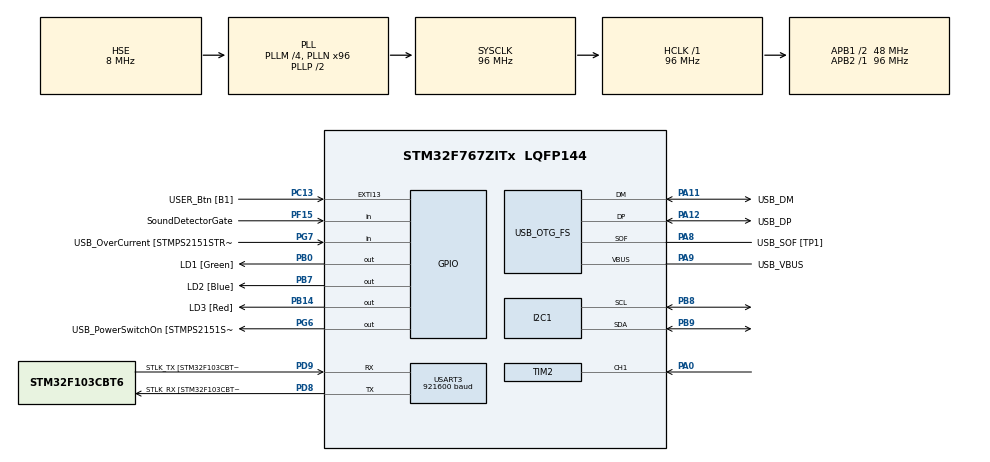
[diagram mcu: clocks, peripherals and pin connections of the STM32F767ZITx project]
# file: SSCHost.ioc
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I2C1.Timing=0x20303E5D
Mcu.Family=STM32F7
Mcu.Name=STM32F767ZITx
Mcu.Package=LQFP144
NVIC.PriorityGroup=NVIC_PRIORITYGROUP_4
PA0/WKUP.Signal=S_TIM2_CH1_ETR
PA1.GPIO_Label=RMII_REF_CLK [LAN8742A-CZ-TR_REFCLK0]
PA1.Signal=ETH_REF_CLK
PA10.GPIO_Label=USB_ID
PA10.Signal=USB_OTG_FS_ID
PA11.GPIO_Label=USB_DM
PA11.Mode=Device_Only
PA11.Signal=USB_OTG_FS_DM
PA12.GPIO_Label=USB_DP
PA12.Mode=Device_Only
PA12.Signal=USB_OTG_FS_DP
PA13.GPIO_Label=TMS
PA13.Mode=Serial_Wire
PA13.Signal=SYS_JTMS-SWDIO
PA14.GPIO_Label=TCK
PA14.Mode=Serial_Wire
PA14.Signal=SYS_JTCK-SWCLK
PA2.GPIO_Label=RMII_MDIO [LAN8742A-CZ-TR_MDIO]
PA2.Signal=ETH_MDIO
PA7.GPIO_Label=RMII_CRS_DV [LAN8742A-CZ-TR_CRS_DV]
PA7.Signal=ETH_CRS_DV
PA8.GPIO_Label=USB_SOF [TP1]
PA8.Mode=Activate_SOF_FS
PA8.Signal=USB_OTG_FS_SOF
PA9.GPIO_Label=USB_VBUS
PA9.Mode=Activate_VBUS
PA9.Signal=USB_OTG_FS_VBUS
PB0.GPIO_Label=LD1 [Green]
PB0.Signal=GPIO_Output
PB13.GPIO_Label=RMII_TXD1 [LAN8742A-CZ-TR_TXD1]
PB13.Signal=ETH_TXD1
PB14.GPIO_Label=LD3 [Red]
PB14.PinState=GPIO_PIN_RESET
PB14.Signal=GPIO_Output
PB3.GPIO_Label=SWO
PB3.Signal=SYS_JTDO-SWO
PB7.GPIO_Label=LD2 [Blue]
PB7.Signal=GPIO_Output
PB8.Mode=I2C
PB8.Signal=I2C1_SCL
PB9.Mode=I2C
PB9.Signal=I2C1_SDA
PC1.GPIO_Label=RMII_MDC [LAN8742A-CZ-TR_MDC]
PC1.Signal=ETH_MDC
PC13.GPIO_Label=USER_Btn [B1]
PC13.Signal=GPXTI13
PC14/OSC32_IN.Mode=LSE-External-Oscillator
PC14/OSC32_IN.Signal=RCC_OSC32_IN
PC15/OSC32_OUT.Mode=LSE-External-Oscillator
PC15/OSC32_OUT.Signal=RCC_OSC32_OUT
PC4.GPIO_Label=RMII_RXD0 [LAN8742A-CZ-TR_RXD0]
PC4.Signal=ETH_RXD0
PC5.GPIO_Label=RMII_RXD1 [LAN8742A-CZ-TR_RXD1]
PC5.Signal=ETH_RXD1
PD8.GPIO_Label=STLK_RX [STM32F103CBT6_PA3]
PD8.Mode=Asynchronous
PD8.Signal=USART3_TX
PD9.GPIO_Label=STLK_TX [STM32F103CBT6_PA2]
PD9.Mode=Asynchronous
PD9.Signal=USART3_RX
PF15.GPIO_Label=SoundDetectorGate
PF15.Signal=GPIO_Input
PG11.GPIO_Label=RMII_TX_EN [LAN8742A-CZ-TR_TXEN]
PG11.Signal=ETH_TX_EN
PG13.GPIO_Label=RMII_TXD0 [LAN8742A-CZ-TR_TXD0]
PG13.Signal=ETH_TXD0
PG6.GPIO_Label=USB_PowerSwitchOn [STMPS2151STR_EN]
PG6.Signal=GPIO_Output
PG7.GPIO_Label=USB_OverCurrent [STMPS2151STR_FAULT]
PG7.Signal=GPIO_Input
PH0/OSC_IN.GPIO_Label=MCO [STM32F103CBT6_PA8]
PH0/OSC_IN.Mode=HSE-External-Clock-Source
PH0/OSC_IN.Signal=RCC_OSC_IN
PH1/OSC_OUT.Mode=HSE-External-Clock-Source
PH1/OSC_OUT.Signal=RCC_OSC_OUT
ProjectManager.HeapSize=0x200
ProjectManager.StackSize=0x400
ProjectManager.TargetToolchain=STM32CubeIDE
RCC.48MHZClocksFreq_Value=24000000
RCC.AHBFreq_Value=96000000
RCC.APB1CLKDivider=RCC_HCLK_DIV2
RCC.APB1Freq_Value=48000000
RCC.APB1TimFreq_Value=96000000
RCC.APB2Freq_Value=96000000
RCC.APB2TimFreq_Value=96000000
RCC.CortexFreq_Value=96000000
RCC.HCLKFreq_Value=96000000
RCC.HSE_VALUE=8000000
RCC.HSI_VALUE=16000000
RCC.PLLM=4
RCC.PLLMUL=RCC_PLL_MUL9
RCC.PLLN=96
RCC.PLLQ=4
RCC.PRESCALERUSB=RCC_USBCLKSOURCE_PLL_DIV1_5
RCC.SYSCLKFreq_VALUE=96000000
RCC.SYSCLKSource=RCC_SYSCLKSOURCE_PLLCLK
RCC.SYSCLKSourceVirtual=RCC_SYSCLKSOURCE_PLLCLK
RCC.USBFreq_Value=48000000
RCC.VCOOutputFreq_Value=192000000
SH.S_TIM2_CH1_ETR.0=TIM2_CH1,Input_Capture1_from_TI1
TIM2.Channel-Input_Capture1_from_TI1=TIM_CHANNEL_1
TIM2.Prescaler=95
USART3.BaudRate=921600
USART3.VirtualMode-Asynchronous=VM_ASYNC
USB_OTG_FS.VirtualMode=Device_Only
VP_TIM2_VS_ClockSourceINT.Mode=Internal
board=NUCLEO-F767ZI

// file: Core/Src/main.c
/* USER CODE BEGIN Header */
/**
  ******************************************************************************
  * @file           : main.c
  * @brief          : Main program body
  ******************************************************************************
  * @attention
  *
  * <h2><center>&copy; Copyright (c) 2021 STMicroelectronics.
  * All rights reserved.</center></h2>
  *
  * This software component is licensed by ST under BSD 3-Clause license,
  * the "License"; You may not use this file except in compliance with the
  * License. You may obtain a copy of the License at:
  *                        opensource.org/licenses/BSD-3-Clause
  *
  ******************************************************************************
  */
/* USER CODE END Header */
#include "main.h"

/* USER CODE BEGIN Includes */
#include <string.h>
#include <stdio.h>
#include <stdlib.h>

#include "I2CNetworkCommon.h"
#include "HostDispatchCommands.h"
#include "TimeHelpers.h"

/* USER CODE END Includes */

/* USER CODE BEGIN PTD */

#define PERIPHERAL_COUNT 4 //How many boards we've got working as peripherals.
#define CYCLE_COUNT 4 //How many times we fill the buffer before stopping.

#define PRIME_BLINK_COUNT 3
#define PRIME_BLINK_TOTAL_TIME_MS 500

#define SAMPLE_TO_READ_TIME_MS 1000 //How long after we send the signal to sample do we start checking if the peripherals are ready to send.

#define NOT_READY_ADDITIONAL_DELAY_MS 50 //When we ask if a peripheral is done sampling, and it say no, how long we wait before asking again.

#define FIRST_DEVICE_DELAY_MS 35 //What the delay, in milliseconds, will be on the first device after sending the "Start Sampling" command.
#define DELAY_ADD_PER_DEVICE_MS 0 //How much time, in milliseconds, is added to the delay of each device after the first (cumulative).

/* USER CODE END PTD */

I2C_HandleTypeDef hi2c1;

TIM_HandleTypeDef htim2;

UART_HandleTypeDef huart3;

PCD_HandleTypeDef hpcd_USB_OTG_FS;

/* USER CODE BEGIN PV */
int isPrimed = 0;
int isStarted = 0;
int isFinished = 0;
/* USER CODE END PV */

void SystemClock_Config(void);
static void MX_GPIO_Init(void);
static void MX_USART3_UART_Init(void);
static void MX_USB_OTG_FS_PCD_Init(void);
static void MX_I2C1_Init(void);
static void MX_TIM2_Init(void);
/* USER CODE BEGIN PFP */

//void SendSampleParameters(I2C_HandleTypeDef *hi2c, uint8_t peripheralAddress, uint8_t deviceCount, uint16_t bufferSize, uint8_t cycleCount, uint8_t delayMS);

void PrintUARTMessage(UART_HandleTypeDef *huart, const char message[]);

void BlinkLight(GPIO_TypeDef* GPIOx, uint16_t GPIO_Pin, int blinkCount, int totalTimeMS, GPIO_PinState endState);

/* USER CODE END PFP */

int main(void)
{
  /* USER CODE BEGIN 1 */
	//HAL_StatusTypeDef ret;
	//uint8_t buf[1];

  /* USER CODE END 1 */

  /* MCU Configuration--------------------------------------------------------*/

  /* Reset of all peripherals, Initializes the Flash interface and the Systick. */
  HAL_Init();

  /* Configure the system clock */
  SystemClock_Config();

  /* Initialize all configured peripherals */
  MX_GPIO_Init();
  MX_USART3_UART_Init();
  MX_USB_OTG_FS_PCD_Init();
  MX_I2C1_Init();
  MX_TIM2_Init();
  /* USER CODE BEGIN 2 */

  //Green to indicate this is the host.
  HAL_GPIO_WritePin(LD1_GPIO_Port, LD1_Pin, GPIO_PIN_SET);\
  //Make sure other lights are reset, so we know we're not a peripheral and we know we're not primed.
  HAL_GPIO_WritePin(LD2_GPIO_Port, LD2_Pin, GPIO_PIN_RESET);
  HAL_GPIO_WritePin(LD3_GPIO_Port, LD3_Pin, GPIO_PIN_RESET);

  GPIO_PinState userButtonState = GPIO_PIN_RESET;

  //Confirm we're on.
  PrintUARTMessage(&huart3, "Host Initialized.");

  //Enable register for the timer.
  TIM2->CR1 = TIM_CR1_CEN;

  //Declare array that holds the time in microseconds when we send the signal for each peripheral to start.
  //This is used later to calculate the offset for their final times and synchronize them.
  int32_t startTimesUs[4];

  /* USER CODE END 2 */

  /* Infinite loop */
  /* USER CODE BEGIN WHILE */
  while (1)
  {

	  if(isPrimed == 0)
	  {
		  GPIO_PinState state = HAL_GPIO_ReadPin(USER_Btn_GPIO_Port, USER_Btn_Pin);
		  if(state != userButtonState)
		  {
			  if(state == GPIO_PIN_SET)
			  {
				  //Submit a message saying we're starting.
				  PrintUARTMessage(&huart3, "\r\nPriming");

				  //Blink light to indicate priming.
				  BlinkLight(LD2_GPIO_Port, LD2_Pin, PRIME_BLINK_COUNT, PRIME_BLINK_TOTAL_TIME_MS, GPIO_PIN_SET);

				  for(int i = 1; i <= PERIPHERAL_COUNT; i++)
				  {
					  uint8_t address = i << 1; //Shifted over by one for I2C.

					  //Calculate the delay.
					  uint8_t delayTimeMS = FIRST_DEVICE_DELAY_MS + (i - 1) * DELAY_ADD_PER_DEVICE_MS; //Subtract one from i since we start at 1, not 0.

					  SendSampleParamsCommand(&hi2c1, address, CYCLE_COUNT, delayTimeMS);
				  }

				  isPrimed = 1;
			  }

			  userButtonState = state;

		  }
	  }

	  if(isPrimed == 1 && isStarted == 0)
	  {
		  GPIO_PinState state = HAL_GPIO_ReadPin(SoundDetectorGate_GPIO_Port, SoundDetectorGate_Pin);
		  if(state == GPIO_PIN_SET)
		  {
			  //Turn on red LED to indicate we're dispatching.
			  HAL_GPIO_WritePin(LD3_GPIO_Port, LD3_Pin, GPIO_PIN_SET);

			  ResetClock(htim2);

			  for(int i = 1; i <= PERIPHERAL_COUNT; i++)
			  {
				  uint8_t address = i << 1; //Shifted over by one for I2C.
				  BeginSamplingCommand(&hi2c1, address);

				  //Record the time.
				  uint32_t startTicks = ReadCurrentTicks(htim2);
				  startTimesUs[i - 1] = TicksToSubSecond(htim2, startTicks, MICROSECOND_DIVIDER);
			  }

			  //Subtract the first time from each start time element so that they are the offsets.
			  uint32_t firstTime = startTimesUs[0];
			  for(int i = 0; i < PERIPHERAL_COUNT; i++)
			  {
				  startTimesUs[i] -= firstTime;
			  }

			  isStarted = 1;
			  //Allow another sent packet and turn off blue prime indicator LED.
			  //Wait a short time to make it so the samples are likely ready (but we'll still be asking before receiving).
			  HAL_Delay(SAMPLE_TO_READ_TIME_MS);
			  HAL_GPIO_WritePin(LD2_GPIO_Port, LD2_Pin, GPIO_PIN_RESET);
			  HAL_GPIO_WritePin(LD3_GPIO_Port, LD3_Pin, GPIO_PIN_RESET);

			  //Each peripheral needs its device numbers adjusted to be above the preceeding peripherals. Same with samples.
			  //Use the below numbers to add to the values in each peripheral after the first, and then add back to it.
			  int highestDeviceNumber = 0;
			  int highestSampleNumber = 0;

			  //Calculate how many samples to get per device.
			  //Go through each peripheral and wait for it to be ready, then receive sample.
			  for(int i = 1; i <= PERIPHERAL_COUNT; i++)
			  {
				  uint8_t address = i << 1; //Shifted over by one for I2C.

				  //Wait for the device to be ready.
				  enum BooleanReturnValue isReady = False;

				  while(isReady == False)
				  {
					  isReady = CheckFinishedCommand(&hi2c1, address);
				  }

				  //Now it's just something other than "not ready" so handle other situations.
				  if(isReady == BadData || isReady == Timeout)
				  {
					  //Flash red light in a distinct pattern to show there was an error here.
					  for(int b = 0; b < 3; b++)
					  {
						  HAL_GPIO_WritePin(LD3_GPIO_Port, LD3_Pin, GPIO_PIN_SET);
						  HAL_Delay(120);
						  HAL_GPIO_WritePin(LD3_GPIO_Port, LD3_Pin, GPIO_PIN_RESET);
						  HAL_Delay(80);
					  }
					  continue; //Skip to the next peripheral.
				  }

				  //If we're here, the device said it's ready to send back the data. So get it.

				  //Wait a short amount of time for the listener to activate again. I guess.
				  HAL_Delay(5);

				  //Get total number of packets that we need to receive.
				  uint16_t totalPackets = RequestTotalPacketCountCommand(&hi2c1, address);

				  if(totalPackets == 0)
				  {
					  //Flash red once to show error here.
					  HAL_GPIO_WritePin(LD3_GPIO_Port, LD3_Pin, GPIO_PIN_SET);
					  HAL_Delay(120);
					  HAL_GPIO_WritePin(LD3_GPIO_Port, LD3_Pin, GPIO_PIN_RESET);
					  HAL_Delay(80);

					  continue; //In the future, we could log an error here or something.
				  }

				  int highestDeviceNumberBeforeThisPeripheral = highestDeviceNumber;
				  int highestSampleNumberBeforeThisPeripheral = highestSampleNumber;

				  //Get each sample header and sample individually.
				  for(int j = 0; j < totalPackets; j++) //TODO: This is only first four.
				  {
					  //Get the header.
					  samplePacketHeader* header = calloc(sizeof(samplePacketHeader), 1);
					  RequestSampleHeaderCommand(&hi2c1, address, j, header);

					  //Change the sample and device numbers according to the peripheral index.
					  int additiveDeviceNumber = highestDeviceNumberBeforeThisPeripheral + header->DeviceID;
					  header->DeviceID = additiveDeviceNumber;
					  if(additiveDeviceNumber > highestDeviceNumber)
					  {
						  highestDeviceNumber = additiveDeviceNumber;
					  }

					  int additiveSampleNumber = highestSampleNumberBeforeThisPeripheral + header->SampleID;
					  header->SampleID = additiveSampleNumber;
					  if(additiveSampleNumber > highestSampleNumber)
					  {
						  highestSampleNumber = additiveSampleNumber;
					  }

					  //Adjust the start and ennd times based on the offset at which the devive was sent the sample message.
					  uint32_t startOffset = startTimesUs[i];
					  header->startTimeUs += startOffset;
					  header->endTimeUs += startOffset;

					  uint16_t samplesPerPacket = header->SampleCount;
					  uint16_t* data = calloc(sizeof(uint16_t), samplesPerPacket);

					  HAL_Delay(5); //Let it get back to the main loop.

					  //Get the actual data.
					  RequestSampleDataCommand(&hi2c1, address, samplesPerPacket, j, data); //i for now, just to get the samples from the first cycle.

					  //Flip the lights to indicate it's sending stuff.
					  HAL_GPIO_WritePin(LD1_GPIO_Port, LD1_Pin, GPIO_PIN_SET);
					  HAL_GPIO_WritePin(LD2_GPIO_Port, LD2_Pin, GPIO_PIN_SET);

					  //Transmit the data to the PC.
					  TransmitSamplePacketToPC(&huart3, *header, data);

					  //Wait a sec to make sure light are seen, then switch them off.
					  HAL_Delay(25);
					  HAL_GPIO_WritePin(LD1_GPIO_Port, LD1_Pin, GPIO_PIN_RESET);
					  HAL_GPIO_WritePin(LD2_GPIO_Port, LD2_Pin, GPIO_PIN_RESET);

					  /*
					  //Just for debug.
					  uint16_t debugData[samplesPerPacket];
					  for(int d = 0; d < samplesPerPacket; d++)
					  {
						  debugData[d] = data[d];
					  }
					  */

					  free(header);
					  free(data);

					  HAL_Delay(5); //Let it get back to the main loop.
				  }

				  //Increment once more so the next set starts at one higher.
				  highestDeviceNumber++;
				  highestSampleNumber++;
			  }

			  //TODO: These need to go somewhere at the end.
			  isPrimed = 0;
			  isStarted = 0;
		  }
		  //Make sure green light is on, as we flashed them while uploading.
		  HAL_GPIO_WritePin(LD1_GPIO_Port, LD1_Pin, GPIO_PIN_SET);
	  }

    /* USER CODE END WHILE */

  }
}

void SystemClock_Config(void)
{
  RCC_OscInitTypeDef RCC_OscInitStruct = {0};
  RCC_ClkInitTypeDef RCC_ClkInitStruct = {0};
  RCC_PeriphCLKInitTypeDef PeriphClkInitStruct = {0};

  /** Configure LSE Drive Capability
  */
  HAL_PWR_EnableBkUpAccess();
  /** Configure the main internal regulator output voltage
  */
  __HAL_RCC_PWR_CLK_ENABLE();
  __HAL_PWR_VOLTAGESCALING_CONFIG(PWR_REGULATOR_VOLTAGE_SCALE3);
  /** Initializes the RCC Oscillators according to the specified parameters
  * in the RCC_OscInitTypeDef structure.
  */
  RCC_OscInitStruct.OscillatorType = RCC_OSCILLATORTYPE_HSE;
  RCC_OscInitStruct.HSEState = RCC_HSE_BYPASS;
  RCC_OscInitStruct.PLL.PLLState = RCC_PLL_ON;
  RCC_OscInitStruct.PLL.PLLSource = RCC_PLLSOURCE_HSE;
  RCC_OscInitStruct.PLL.PLLM = 4;
  RCC_OscInitStruct.PLL.PLLN = 96;
  RCC_OscInitStruct.PLL.PLLP = RCC_PLLP_DIV2;
  RCC_OscInitStruct.PLL.PLLQ = 4;
  if (HAL_RCC_OscConfig(&RCC_OscInitStruct) != HAL_OK)
  {
    Error_Handler();
  }
  /** Activate the Over-Drive mode
  */
  if (HAL_PWREx_EnableOverDrive() != HAL_OK)
  {
    Error_Handler();
  }
  /** Initializes the CPU, AHB and APB buses clocks
  */
  RCC_ClkInitStruct.ClockType = RCC_CLOCKTYPE_HCLK|RCC_CLOCKTYPE_SYSCLK
                              |RCC_CLOCKTYPE_PCLK1|RCC_CLOCKTYPE_PCLK2;
  RCC_ClkInitStruct.SYSCLKSource = RCC_SYSCLKSOURCE_PLLCLK;
  RCC_ClkInitStruct.AHBCLKDivider = RCC_SYSCLK_DIV1;
  RCC_ClkInitStruct.APB1CLKDivider = RCC_HCLK_DIV2;
  RCC_ClkInitStruct.APB2CLKDivider = RCC_HCLK_DIV1;

  if (HAL_RCC_ClockConfig(&RCC_ClkInitStruct, FLASH_LATENCY_3) != HAL_OK)
  {
    Error_Handler();
  }
  PeriphClkInitStruct.PeriphClockSelection = RCC_PERIPHCLK_USART3|RCC_PERIPHCLK_I2C1
                              |RCC_PERIPHCLK_CLK48;
  PeriphClkInitStruct.Usart3ClockSelection = RCC_USART3CLKSOURCE_PCLK1;
  PeriphClkInitStruct.I2c1ClockSelection = RCC_I2C1CLKSOURCE_PCLK1;
  PeriphClkInitStruct.Clk48ClockSelection = RCC_CLK48SOURCE_PLL;
  if (HAL_RCCEx_PeriphCLKConfig(&PeriphClkInitStruct) != HAL_OK)
  {
    Error_Handler();
  }
}

static void MX_I2C1_Init(void)
{

  hi2c1.Instance = I2C1;
  hi2c1.Init.Timing = 0x20303E5D;
  hi2c1.Init.OwnAddress1 = 0;
  hi2c1.Init.AddressingMode = I2C_ADDRESSINGMODE_7BIT;
  hi2c1.Init.DualAddressMode = I2C_DUALADDRESS_DISABLE;
  hi2c1.Init.OwnAddress2 = 0;
  hi2c1.Init.OwnAddress2Masks = I2C_OA2_NOMASK;
  hi2c1.Init.GeneralCallMode = I2C_GENERALCALL_DISABLE;
  hi2c1.Init.NoStretchMode = I2C_NOSTRETCH_DISABLE;
  if (HAL_I2C_Init(&hi2c1) != HAL_OK)
  {
    Error_Handler();
  }
  /** Configure Analogue filter
  */
  if (HAL_I2CEx_ConfigAnalogFilter(&hi2c1, I2C_ANALOGFILTER_ENABLE) != HAL_OK)
  {
    Error_Handler();
  }
  /** Configure Digital filter
  */
  if (HAL_I2CEx_ConfigDigitalFilter(&hi2c1, 0) != HAL_OK)
  {
    Error_Handler();
  }

}

static void MX_TIM2_Init(void)
{

  TIM_ClockConfigTypeDef sClockSourceConfig = {0};
  TIM_MasterConfigTypeDef sMasterConfig = {0};
  TIM_IC_InitTypeDef sConfigIC = {0};

  htim2.Instance = TIM2;
  htim2.Init.Prescaler = 95;
  htim2.Init.CounterMode = TIM_COUNTERMODE_UP;
  htim2.Init.Period = 4294967295;
  htim2.Init.ClockDivision = TIM_CLOCKDIVISION_DIV1;
  htim2.Init.AutoReloadPreload = TIM_AUTORELOAD_PRELOAD_DISABLE;
  if (HAL_TIM_Base_Init(&htim2) != HAL_OK)
  {
    Error_Handler();
  }
  sClockSourceConfig.ClockSource = TIM_CLOCKSOURCE_INTERNAL;
  if (HAL_TIM_ConfigClockSource(&htim2, &sClockSourceConfig) != HAL_OK)
  {
    Error_Handler();
  }
  if (HAL_TIM_IC_Init(&htim2) != HAL_OK)
  {
    Error_Handler();
  }
  sMasterConfig.MasterOutputTrigger = TIM_TRGO_RESET;
  sMasterConfig.MasterSlaveMode = TIM_MASTERSLAVEMODE_DISABLE;
  if (HAL_TIMEx_MasterConfigSynchronization(&htim2, &sMasterConfig) != HAL_OK)
  {
    Error_Handler();
  }
  sConfigIC.ICPolarity = TIM_INPUTCHANNELPOLARITY_RISING;
  sConfigIC.ICSelection = TIM_ICSELECTION_DIRECTTI;
  sConfigIC.ICPrescaler = TIM_ICPSC_DIV1;
  sConfigIC.ICFilter = 0;
  if (HAL_TIM_IC_ConfigChannel(&htim2, &sConfigIC, TIM_CHANNEL_1) != HAL_OK)
  {
    Error_Handler();
  }

}

static void MX_USART3_UART_Init(void)
{

  huart3.Instance = USART3;
  huart3.Init.BaudRate = 921600;
  huart3.Init.WordLength = UART_WORDLENGTH_8B;
  huart3.Init.StopBits = UART_STOPBITS_1;
  huart3.Init.Parity = UART_PARITY_NONE;
  huart3.Init.Mode = UART_MODE_TX_RX;
  huart3.Init.HwFlowCtl = UART_HWCONTROL_NONE;
  huart3.Init.OverSampling = UART_OVERSAMPLING_16;
  huart3.Init.OneBitSampling = UART_ONE_BIT_SAMPLE_DISABLE;
  huart3.AdvancedInit.AdvFeatureInit = UART_ADVFEATURE_NO_INIT;
  if (HAL_UART_Init(&huart3) != HAL_OK)
  {
    Error_Handler();
  }

}

static void MX_USB_OTG_FS_PCD_Init(void)
{

  hpcd_USB_OTG_FS.Instance = USB_OTG_FS;
  hpcd_USB_OTG_FS.Init.dev_endpoints = 6;
  hpcd_USB_OTG_FS.Init.speed = PCD_SPEED_FULL;
  hpcd_USB_OTG_FS.Init.dma_enable = DISABLE;
  hpcd_USB_OTG_FS.Init.phy_itface = PCD_PHY_EMBEDDED;
  hpcd_USB_OTG_FS.Init.Sof_enable = ENABLE;
  hpcd_USB_OTG_FS.Init.low_power_enable = DISABLE;
  hpcd_USB_OTG_FS.Init.lpm_enable = DISABLE;
  hpcd_USB_OTG_FS.Init.vbus_sensing_enable = ENABLE;
  hpcd_USB_OTG_FS.Init.use_dedicated_ep1 = DISABLE;
  if (HAL_PCD_Init(&hpcd_USB_OTG_FS) != HAL_OK)
  {
    Error_Handler();
  }

}

static void MX_GPIO_Init(void)
{
  GPIO_InitTypeDef GPIO_InitStruct = {0};

  /* GPIO Ports Clock Enable */
  __HAL_RCC_GPIOC_CLK_ENABLE();
  __HAL_RCC_GPIOH_CLK_ENABLE();
  __HAL_RCC_GPIOA_CLK_ENABLE();
  __HAL_RCC_GPIOB_CLK_ENABLE();
  __HAL_RCC_GPIOF_CLK_ENABLE();
  __HAL_RCC_GPIOD_CLK_ENABLE();
  __HAL_RCC_GPIOG_CLK_ENABLE();

  /*Configure GPIO pin Output Level */
  HAL_GPIO_WritePin(GPIOB, LD1_Pin|LD3_Pin|LD2_Pin, GPIO_PIN_RESET);

  /*Configure GPIO pin Output Level */
  HAL_GPIO_WritePin(USB_PowerSwitchOn_GPIO_Port, USB_PowerSwitchOn_Pin, GPIO_PIN_RESET);

  /*Configure GPIO pin : USER_Btn_Pin */
  GPIO_InitStruct.Pin = USER_Btn_Pin;
  GPIO_InitStruct.Mode = GPIO_MODE_IT_RISING;
  GPIO_InitStruct.Pull = GPIO_NOPULL;
  HAL_GPIO_Init(USER_Btn_GPIO_Port, &GPIO_InitStruct);

  /*Configure GPIO pins : RMII_MDC_Pin RMII_RXD0_Pin RMII_RXD1_Pin */
  GPIO_InitStruct.Pin = RMII_MDC_Pin|RMII_RXD0_Pin|RMII_RXD1_Pin;
  GPIO_InitStruct.Mode = GPIO_MODE_AF_PP;
  GPIO_InitStruct.Pull = GPIO_NOPULL;
  GPIO_InitStruct.Speed = GPIO_SPEED_FREQ_VERY_HIGH;
  GPIO_InitStruct.Alternate = GPIO_AF11_ETH;
  HAL_GPIO_Init(GPIOC, &GPIO_InitStruct);

  /*Configure GPIO pins : RMII_REF_CLK_Pin RMII_MDIO_Pin RMII_CRS_DV_Pin */
  GPIO_InitStruct.Pin = RMII_REF_CLK_Pin|RMII_MDIO_Pin|RMII_CRS_DV_Pin;
  GPIO_InitStruct.Mode = GPIO_MODE_AF_PP;
  GPIO_InitStruct.Pull = GPIO_NOPULL;
  GPIO_InitStruct.Speed = GPIO_SPEED_FREQ_VERY_HIGH;
  GPIO_InitStruct.Alternate = GPIO_AF11_ETH;
  HAL_GPIO_Init(GPIOA, &GPIO_InitStruct);

  /*Configure GPIO pins : LD1_Pin LD3_Pin LD2_Pin */
  GPIO_InitStruct.Pin = LD1_Pin|LD3_Pin|LD2_Pin;
  GPIO_InitStruct.Mode = GPIO_MODE_OUTPUT_PP;
  GPIO_InitStruct.Pull = GPIO_NOPULL;
  GPIO_InitStruct.Speed = GPIO_SPEED_FREQ_LOW;
  HAL_GPIO_Init(GPIOB, &GPIO_InitStruct);

  /*Configure GPIO pin : SoundDetectorGate_Pin */
  GPIO_InitStruct.Pin = SoundDetectorGate_Pin;
  GPIO_InitStruct.Mode = GPIO_MODE_INPUT;
  GPIO_InitStruct.Pull = GPIO_NOPULL;
  HAL_GPIO_Init(SoundDetectorGate_GPIO_Port, &GPIO_InitStruct);

  /*Configure GPIO pin : RMII_TXD1_Pin */
  GPIO_InitStruct.Pin = RMII_TXD1_Pin;
  GPIO_InitStruct.Mode = GPIO_MODE_AF_PP;
  GPIO_InitStruct.Pull = GPIO_NOPULL;
  GPIO_InitStruct.Speed = GPIO_SPEED_FREQ_VERY_HIGH;
  GPIO_InitStruct.Alternate = GPIO_AF11_ETH;
  HAL_GPIO_Init(RMII_TXD1_GPIO_Port, &GPIO_InitStruct);

  /*Configure GPIO pin : USB_PowerSwitchOn_Pin */
  GPIO_InitStruct.Pin = USB_PowerSwitchOn_Pin;
  GPIO_InitStruct.Mode = GPIO_MODE_OUTPUT_PP;
  GPIO_InitStruct.Pull = GPIO_NOPULL;
  GPIO_InitStruct.Speed = GPIO_SPEED_FREQ_LOW;
  HAL_GPIO_Init(USB_PowerSwitchOn_GPIO_Port, &GPIO_InitStruct);

  /*Configure GPIO pin : USB_OverCurrent_Pin */
  GPIO_InitStruct.Pin = USB_OverCurrent_Pin;
  GPIO_InitStruct.Mode = GPIO_MODE_INPUT;
  GPIO_InitStruct.Pull = GPIO_NOPULL;
  HAL_GPIO_Init(USB_OverCurrent_GPIO_Port, &GPIO_InitStruct);

  /*Configure GPIO pins : RMII_TX_EN_Pin RMII_TXD0_Pin */
  GPIO_InitStruct.Pin = RMII_TX_EN_Pin|RMII_TXD0_Pin;
  GPIO_InitStruct.Mode = GPIO_MODE_AF_PP;
  GPIO_InitStruct.Pull = GPIO_NOPULL;
  GPIO_InitStruct.Speed = GPIO_SPEED_FREQ_VERY_HIGH;
  GPIO_InitStruct.Alternate = GPIO_AF11_ETH;
  HAL_GPIO_Init(GPIOG, &GPIO_InitStruct);

}

/* USER CODE BEGIN 4 */

void PrintUARTMessage(UART_HandleTypeDef *huart, const char message[])
{
	HAL_UART_Transmit(huart, (uint8_t*)message, strlen(message), 10);
	char newLine[3] = "\r\n";
	HAL_UART_Transmit(huart, (uint8_t*)newLine, 2, 10);
}

void BlinkLight(GPIO_TypeDef* GPIOx, uint16_t GPIO_Pin, int blinkCount, int totalTimeMS, GPIO_PinState endState)
{
	int timePerHalfBlink = totalTimeMS / blinkCount / 2;
	GPIO_PinState oppositeOfEndState = endState == GPIO_PIN_RESET ? GPIO_PIN_SET : GPIO_PIN_RESET;

	for(int i = 0; i < blinkCount; i++)
	{
		HAL_GPIO_WritePin(GPIOx, GPIO_Pin, oppositeOfEndState);
		HAL_Delay(timePerHalfBlink);
		HAL_GPIO_WritePin(GPIOx, GPIO_Pin, endState);
		HAL_Delay(timePerHalfBlink);
	}
}

/* USER CODE END 4 */

void Error_Handler(void)
{
  __disable_irq();
  while (1)
  {
  }
}

/************************ (C) COPYRIGHT STMicroelectronics *****END OF FILE****/
